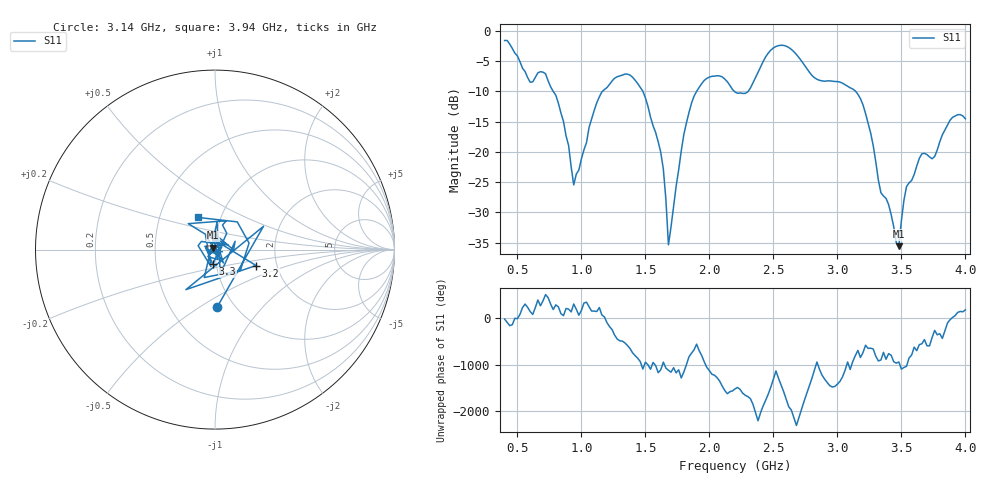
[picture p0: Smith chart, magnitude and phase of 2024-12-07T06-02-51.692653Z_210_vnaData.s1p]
!Created with skrf (http://scikit-rf.org).
# Hz S RI R 50.0
!freq ReS11 ImS11
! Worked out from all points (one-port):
!   181 points, 400 MHz to 4 GHz, reference 50 ohm
!   lowest |S11| = -35.6 dB at 3.48 GHz (marker M1), VSWR 1.03, Z = 48.8 + j1.08 ohm
!   |S11| at or under -10 dB: 780 MHz to 1.164 GHz (383.6 MHz wide, 39.5 % of centre); 1.481 GHz to 1.9 GHz (419 MHz wide, 24.8 % of centre); 3.143 GHz to end of sweep (the widest 3 of 4)
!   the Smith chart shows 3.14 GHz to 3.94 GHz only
!   S11 on the Smith chart (normalised r, x): 3.14 GHz: 0.83, -0.59; 3.2 GHz: 1.56, -0.29; 3.3 GHz: 0.96, -0.16; 3.94 GHz: 0.78, +0.29
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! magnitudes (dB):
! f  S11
! 400 MHz  -1.6
! 600 MHz  -8.5
! 720 MHz  -7.1
! 860 MHz  -15.0
! 940 MHz  -25.5
! 1.12 GHz  -11.9
! 1.3 GHz  -7.4
! 1.48 GHz  -10.0
! 1.58 GHz  -16.8
! 1.64 GHz  -22.8
! 1.68 GHz  -35.4
! 1.76 GHz  -23.0
! 1.84 GHz  -13.5
! 1.94 GHz  -8.7
! 2.2 GHz  -10.1
! 2.3 GHz  -10.1
! 2.5 GHz  -2.8
! 2.66 GHz  -3.4
! 2.82 GHz  -7.7
! 3.1 GHz  -9.4
! 3.14 GHz  -9.9
! 3.2 GHz  -12.2
! 3.3 GHz  -21.7
! 3.48 GHz  -35.6
! 3.52 GHz  -28.0
! 3.56 GHz  -25.1
! 3.94 GHz  -13.9
! 4 GHz  -14.5
